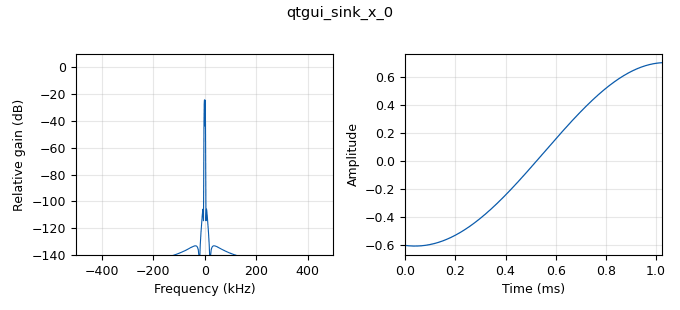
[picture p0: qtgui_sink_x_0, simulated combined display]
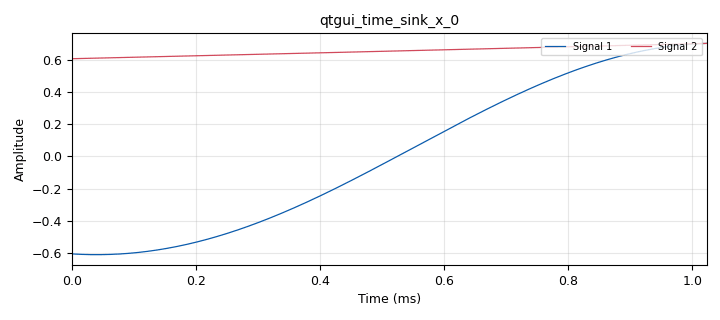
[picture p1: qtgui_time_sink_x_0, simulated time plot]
options:
  parameters:
    author: jkita
    generate_options: qt_gui
    id: am_modulation
    output_language: python
    title: Not titled yet
  states: {}

blocks:
- name: carrier_signal_freq
  id: variable_qtgui_range
  parameters:
    gui_hint: 2,1
    orient: QtCore.Qt.Vertical
    start: '0'
    step: '10'
    stop: 10e3
    value: '500'
  states: {}
- name: info_signal_freq
  id: variable_qtgui_range
  parameters:
    gui_hint: 2,2
    start: '0'
    step: '1'
    stop: 1e3
    value: '50'
  states: {}
- name: info_signal_selector
  id: variable_qtgui_chooser
  parameters:
    gui_hint: 2,0
    label0: sin
    label1: cos
    label2: sqare
    label3: triangle
    label4: saw tooth
    num_opts: '5'
    option0: '101'
    option1: '102'
    option2: '103'
    option3: '104'
    option4: '105'
    type: int
    value: '101'
  states: {}
- name: samp_rate
  id: variable
  parameters:
    value: 1e6
  states: {}
- name: analog_sig_source_x_0
  id: analog_sig_source_x
  parameters:
    amp: '1'
    comment: currier signal
    freq: carrier_signal_freq
    offset: '0'
    phase: '0'
    samp_rate: samp_rate
    type: float
    waveform: analog.GR_COS_WAVE
  states: {}
- name: analog_sig_source_x_1
  id: analog_sig_source_x
  parameters:
    amp: '.3'
    comment: information signal
    freq: info_signal_freq
    offset: '.7'
    phase: '0'
    samp_rate: samp_rate
    type: float
    waveform: info_signal_selector
  states: {}
- name: audio_sink_0
  id: audio_sink
  parameters:
    samp_rate: '48000'
  states: {state: disabled}
- name: blocks_multiply_xx_0
  id: blocks_multiply_xx
  parameters:
    type: float
  states: {}
- name: blocks_throttle_0
  id: blocks_throttle
  parameters:
    samples_per_second: samp_rate
    type: float
  states: {}
- name: qtgui_sink_x_0
  id: qtgui_sink_x
  parameters:
    bw: samp_rate
    fc: '0'
    fftsize: '1024'
    gui_hint: 1,0,1,3
    type: float
  states: {}
- name: qtgui_time_sink_x_0
  id: qtgui_time_sink_x
  parameters:
    autoscale: 'True'
    ctrlpanel: 'True'
    grid: 'True'
    gui_hint: 0,0,1,3
    nconnections: '2'
    size: '1024'
    srate: samp_rate
    type: float
  states: {}
- name: rational_resampler_xxx_0
  id: rational_resampler_xxx
  parameters:
    decim: int(samp_rate)
    interp: int(48e3)
    type: fff
  states: {state: disabled}

connections:
- [analog_sig_source_x_0, '0', blocks_multiply_xx_0, '0']
- [analog_sig_source_x_1, '0', blocks_multiply_xx_0, '1']
- [analog_sig_source_x_1, '0', qtgui_time_sink_x_0, '1']
- [blocks_multiply_xx_0, '0', blocks_throttle_0, '0']
- [blocks_multiply_xx_0, '0', rational_resampler_xxx_0, '0']
- [blocks_throttle_0, '0', qtgui_sink_x_0, '0']
- [blocks_throttle_0, '0', qtgui_time_sink_x_0, '0']
- [rational_resampler_xxx_0, '0', audio_sink_0, '0']

metadata:
  file_format: 1
  grc_version: 3.10.5.1
